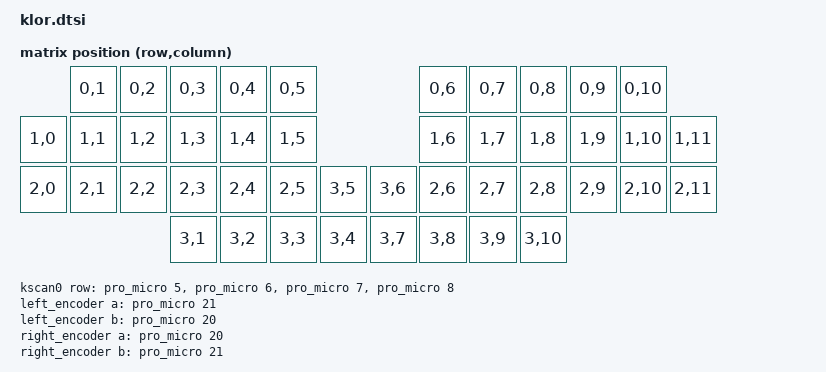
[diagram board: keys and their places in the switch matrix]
/*
 * Copyright (c) 2022 GEIST
 *
 * SPDX-License-Identifier: MIT
 */

#include <dt-bindings/zmk/matrix_transform.h>

/ {
    chosen {
        zephyr,display = &oled;
        zmk,kscan = &kscan0;
        zmk,matrix_transform = &default_transform;
    };

    default_transform: keymap_transform_0 {
        compatible = "zmk,matrix-transform";
        columns = <12>;
        rows = <4>;
//              | SW01 | SW02 | SW03 | SW04 | SW05 |                      | SW05 | SW04 | SW03 | SW02 | SW01 |
//       | SW06 | SW07 | SW08 | SW09 | SW10 | SW11 |                      | SW11 | SW10 | SW09 | SW08 | SW07 | SW06 |
//       | SW12 | SW13 | SW14 | SW15 | SW16 | SW17 | ENC  |        | ENC  | SW17 | SW16 | SW15 | SW14 | SW13 | SW12 |
//                            | SW18 | SW19 | SW20 | SW21 |        | SW21 | SW20 | SW19 | SW18 |
        map = <
                RC(0,1) RC(0,2) RC(0,3) RC(0,4) RC(0,5)                    RC(0,6) RC(0,7) RC(0,8) RC(0,9) RC(0,10)
        RC(1,0) RC(1,1) RC(1,2) RC(1,3) RC(1,4) RC(1,5)                    RC(1,6) RC(1,7) RC(1,8) RC(1,9) RC(1,10) RC(1,11)
        RC(2,0) RC(2,1) RC(2,2) RC(2,3) RC(2,4) RC(2,5) RC(3,5)    RC(3,6) RC(2,6) RC(2,7) RC(2,8) RC(2,9) RC(2,10) RC(2,11)
                                RC(3,1) RC(3,2) RC(3,3) RC(3,4)    RC(3,7) RC(3,8) RC(3,9) RC(3,10)
        >;
    };

    kscan0: kscan_0 {
        compatible = "zmk,kscan-gpio-matrix";
        wakeup-source;

        diode-direction = "col2row";
        row-gpios
            = <&pro_micro 5 (GPIO_ACTIVE_HIGH | GPIO_PULL_DOWN)>
            , <&pro_micro 6 (GPIO_ACTIVE_HIGH | GPIO_PULL_DOWN)>
            , <&pro_micro 7 (GPIO_ACTIVE_HIGH | GPIO_PULL_DOWN)>
            , <&pro_micro 8 (GPIO_ACTIVE_HIGH | GPIO_PULL_DOWN)>
            ;
    };

    left_encoder: encoder_left {
        compatible = "alps,ec11";
        a-gpios = <&pro_micro 21 (GPIO_ACTIVE_HIGH | GPIO_PULL_UP)>;
        b-gpios = <&pro_micro 20 (GPIO_ACTIVE_HIGH | GPIO_PULL_UP)>;
        steps = <80>;
        status = "disabled";
    };

    right_encoder: encoder_right {
        compatible = "alps,ec11";
        a-gpios = <&pro_micro 20 (GPIO_ACTIVE_HIGH | GPIO_PULL_UP)>;
        b-gpios = <&pro_micro 21 (GPIO_ACTIVE_HIGH | GPIO_PULL_UP)>;
        steps = <80>;
        status = "disabled";
    };

    sensors: sensors {
        compatible = "zmk,keymap-sensors";
        sensors = <&left_encoder &right_encoder>;
        triggers-per-rotation = <20>;
    };
};

&pro_micro_i2c {
    status = "okay";

    oled: ssd1306@3c {
        compatible = "solomon,ssd1306fb";
        reg = <0x3c>;
        width = <128>;
        height = <64>;
        segment-offset = <0>;
        page-offset = <0>;
        display-offset = <0>;
        multiplex-ratio = <63>;
        prechargep = <0x22>;
        inversion-on;
    };
};
